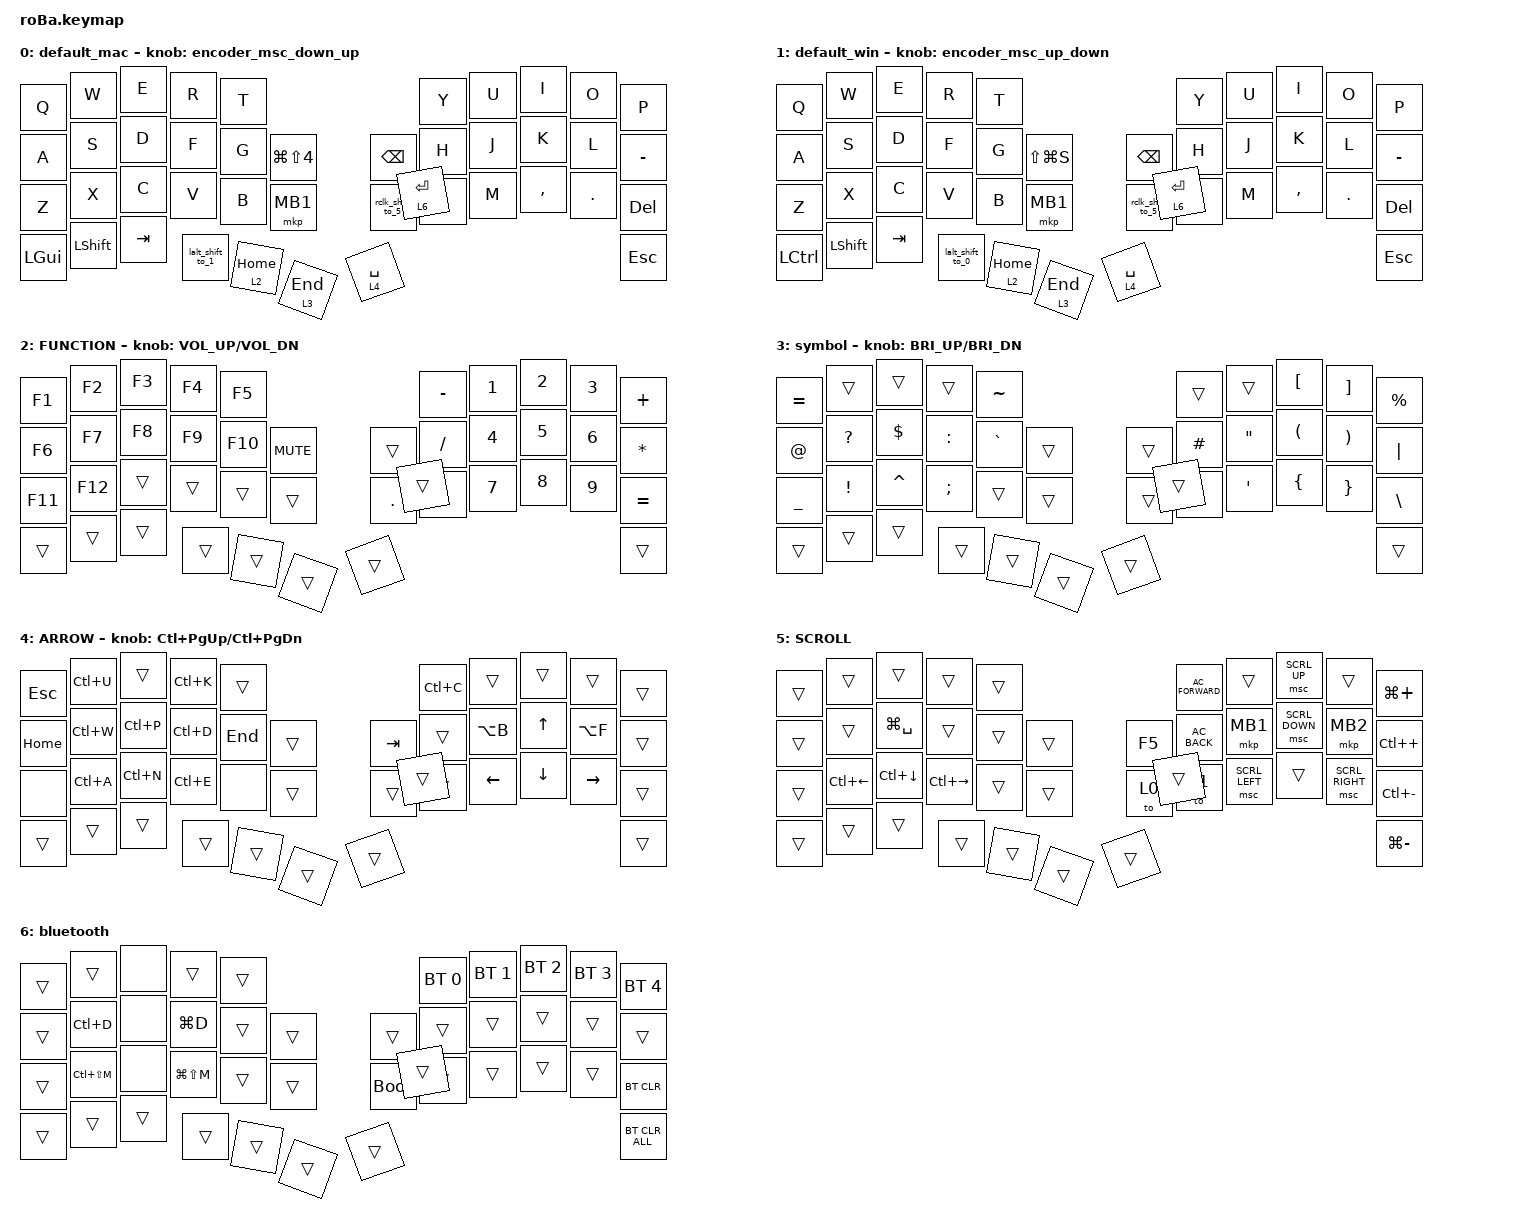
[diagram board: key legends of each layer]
#define ZMK_POINTING_DEFAULT_SCRL_VAL 80

#include <input/processors.dtsi>
#include <behaviors.dtsi>
#include <dt-bindings/zmk/bt.h>
#include <dt-bindings/zmk/keys.h>
#include <dt-bindings/zmk/pointing.h>

&mt {
    flavor = "balanced";
    quick-tap-ms = <0>;
};

&mkp_input_listener { input-processors = <&roba_threshold_temp_layer 5 500>; };

&msc_input_listener { input-processors = <&roba_threshold_temp_layer 5 500>; };

/ {
    combos {
        compatible = "zmk,combos";

        lang_ja {
            bindings = <&kp LANG2>;
            key-positions = <28 29>;
            layers = <0>;
        };

        lang_en {
            bindings = <&kp LANGUAGE_1>;
            key-positions = <27 26>;
            layers = <0>;
        };

        lang_win {
            bindings = <&kp LA(GRAVE)>;
            key-positions = <26 27>;
            layers = <1>;
        };

        brackets {
            bindings = <&brackets>;
            key-positions = <7 8>;
            layers = <0 1>;
        };

        parentheses {
            bindings = <&parentheses>;
            key-positions = <20 19>;
            layers = <0 1>;
        };

        braces {
            bindings = <&braces>;
            key-positions = <31 32>;
            layers = <0 1>;
        };

        grave {
            bindings = <&kp GRAVE>;
            key-positions = <6 7>;
            layers = <0 1>;
        };

        double_quotes {
            bindings = <&kp DOUBLE_QUOTES>;
            key-positions = <18 19>;
            layers = <0 1>;
        };

        single_quote {
            bindings = <&kp SINGLE_QUOTE>;
            key-positions = <30 31>;
            layers = <0 1>;
        };

        question {
            bindings = <&kp QUESTION>;
            key-positions = <12 13>;
            layers = <0 1>;
        };

        exclamation {
            bindings = <&kp EXCLAMATION>;
            key-positions = <24 25>;
            layers = <0 1>;
        };

        capslock {
            bindings = <&kp LS(CLCK)>;
            key-positions = <10 11>;
            layers = <0 1>;
        };
    };

    macros {
        brackets: brackets {
            compatible = "zmk,behavior-macro";
            #binding-cells = <0>;
            bindings = <&kp LEFT_BRACKET &kp RIGHT_BRACKET &kp LEFT_ARROW>;
        };

        parentheses: parentheses {
            compatible = "zmk,behavior-macro";
            #binding-cells = <0>;
            bindings = <&kp LEFT_PARENTHESIS &kp RIGHT_PARENTHESIS &kp LEFT_ARROW>;
        };

        braces: braces {
            compatible = "zmk,behavior-macro";
            #binding-cells = <0>;
            bindings = <&kp LEFT_BRACE &kp RIGHT_BRACE &kp LEFT_ARROW>;
        };
    };

    behaviors {
        lt_to_layer_0: lt_to_layer_0 {
            compatible = "zmk,behavior-hold-tap";
            label = "LAYER_TAP_TO_0";
            bindings = <&mo>, <&to>;

            #binding-cells = <2>;
            tapping-term-ms = <200>;
        };

        rclk_shift_to_5: rclk_shift_to_5 {
            compatible = "zmk,behavior-mod-morph";
            #binding-cells = <0>;
            bindings = <&mkp MB2>, <&to 5>;

            mods = <(MOD_LSFT|MOD_RSFT)>;
        };

        lalt_shift_to_1: lalt_shift_to_1 {
            compatible = "zmk,behavior-mod-morph";
            #binding-cells = <0>;
            bindings = <&kp LALT>, <&to 1>;

            mods = <(MOD_LSFT|MOD_RSFT)>;
        };

        lalt_shift_to_0: lalt_shift_to_0 {
            compatible = "zmk,behavior-mod-morph";
            #binding-cells = <0>;
            bindings = <&kp LALT>, <&to 0>;

            mods = <(MOD_LSFT|MOD_RSFT)>;
        };

        encoder_msc_down_up: encoder_msc_down_up {
            compatible = "zmk,behavior-sensor-rotate";
            label = "ENCODER_MSC_DOWN_UP";
            #sensor-binding-cells = <0>;
            bindings = <&msc SCRL_DOWN>, <&msc SCRL_UP>;

            tap-ms = <20>;
        };

        encoder_msc_up_down: encoder_msc_up_down {
            compatible = "zmk,behavior-sensor-rotate";
            label = "ENCODER_MSC_UP_DOWN";
            #sensor-binding-cells = <0>;
            bindings = <&msc SCRL_UP>, <&msc SCRL_DOWN>;

            tap-ms = <20>;
        };
    };

    keymap {
        compatible = "zmk,keymap";

        default_mac {
            bindings = <
&kp Q         &kp W           &kp E    &kp R             &kp T                                                   &kp Y        &kp U  &kp I      &kp O    &kp P
&kp A         &kp S           &kp D    &kp F             &kp G       &kp LG(LS(NUMBER_4))      &kp BACKSPACE     &kp H        &kp J  &kp K      &kp L    &kp MINUS
&kp Z         &kp X           &kp C    &kp V             &kp B       &mkp MB1                  &rclk_shift_to_5  &kp N        &kp M  &kp COMMA  &kp DOT  &kp DELETE
&kp LEFT_GUI  &kp LEFT_SHIFT  &kp TAB  &lalt_shift_to_1  &lt 2 HOME  &lt 3 END                 &lt 4 SPACE       &lt 6 ENTER                             &kp ESCAPE
            >;

            sensor-bindings = <&encoder_msc_down_up>;
        };

        default_win {
            bindings = <
&kp Q      &kp W           &kp E    &kp R             &kp T                                            &kp Y        &kp U  &kp I      &kp O    &kp P
&kp A      &kp S           &kp D    &kp F             &kp G       &kp LS(LG(S))      &kp BACKSPACE     &kp H        &kp J  &kp K      &kp L    &kp MINUS
&kp Z      &kp X           &kp C    &kp V             &kp B       &mkp MB1           &rclk_shift_to_5  &kp N        &kp M  &kp COMMA  &kp DOT  &kp DELETE
&kp LCTRL  &kp LEFT_SHIFT  &kp TAB  &lalt_shift_to_0  &lt 2 HOME  &lt 3 END          &lt 4 SPACE       &lt 6 ENTER                             &kp ESCAPE
            >;

            sensor-bindings = <&encoder_msc_up_down>;
        };

        FUNCTION {
            bindings = <
&kp F1   &kp F2   &kp F3  &kp F4  &kp F5                               &kp MINUS  &kp N1  &kp N2  &kp N3  &kp PLUS
&kp F6   &kp F7   &kp F8  &kp F9  &kp F10  &kp C_MUTE      &trans      &kp SLASH  &kp N4  &kp N5  &kp N6  &kp ASTERISK
&kp F11  &kp F12  &trans  &trans  &trans   &trans          &kp PERIOD  &kp N0     &kp N7  &kp N8  &kp N9  &kp EQUAL
&trans   &trans   &trans  &trans  &trans   &trans          &trans      &trans                             &trans
            >;

            sensor-bindings = <&inc_dec_kp C_VOL_UP C_VOL_DN>;
        };

        symbol {
            bindings = <
&kp EQUAL  &trans           &trans      &trans         &kp TILDE                      &trans     &trans             &kp LEFT_BRACKET      &kp RIGHT_BRACKET      &kp PERCENT
&kp AT     &kp QUESTION     &kp DOLLAR  &kp COLON      &kp GRAVE  &trans      &trans  &kp HASH   &kp DOUBLE_QUOTES  &kp LEFT_PARENTHESIS  &kp RIGHT_PARENTHESIS  &kp PIPE
&kp UNDER  &kp EXCLAMATION  &kp CARET   &kp SEMICOLON  &trans     &trans      &trans  &kp SLASH  &kp SINGLE_QUOTE   &kp LEFT_BRACE        &kp RIGHT_BRACE        &kp BACKSLASH
&trans     &trans           &trans      &trans         &trans     &trans      &trans  &trans                                                                     &trans
            >;

            sensor-bindings = <&inc_dec_kp C_BRI_UP C_BRI_DN>;
        };

        ARROW {
            bindings = <
&kp ESCAPE  &kp LC(U)  &trans     &kp LC(K)  &trans                        &kp LC(C)  &trans     &trans        &trans     &trans
&kp HOME    &kp LC(W)  &kp LC(P)  &kp LC(D)  &kp END  &trans      &kp TAB  &trans     &kp LA(B)  &kp UP_ARROW  &kp LA(F)  &trans
&none       &kp LC(A)  &kp LC(N)  &kp LC(E)  &none    &trans      &trans   &trans     &kp LEFT   &kp DOWN      &kp RIGHT  &trans
&trans      &trans     &trans     &trans     &trans   &trans      &trans   &trans                                         &trans
            >;

            sensor-bindings = <&inc_dec_kp LC(PAGE_UP) LC(PAGE_DOWN)>;
        };

        SCROLL {
            bindings = <
&trans  &trans        &trans         &trans         &trans                      &kp C_AC_FORWARD  &trans          &msc SCRL_UP    &trans           &kp LG(PLUS)
&trans  &trans        &kp LG(SPACE)  &trans         &trans  &trans      &kp F5  &kp C_AC_BACK     &mkp MB1        &msc SCRL_DOWN  &mkp MB2         &kp LC(PLUS)
&trans  &kp LC(LEFT)  &kp LC(DOWN)   &kp LC(RIGHT)  &trans  &trans      &to 0   &to 1             &msc SCRL_LEFT  &trans          &msc SCRL_RIGHT  &kp LC(MINUS)
&trans  &trans        &trans         &trans         &trans  &trans      &trans  &trans                                                             &kp LG(MINUS)
            >;
        };

        bluetooth {
            bindings = <
&trans  &trans         &none   &trans         &trans                           &bt BT_SEL 0  &bt BT_SEL 1  &bt BT_SEL 2  &bt BT_SEL 3  &bt BT_SEL 4
&trans  &kp LC(D)      &none   &kp LG(D)      &trans  &trans      &trans       &trans        &trans        &trans        &trans        &trans
&trans  &kp LC(LS(M))  &none   &kp LG(LS(M))  &trans  &trans      &bootloader  &trans        &trans        &trans        &trans        &bt BT_CLR
&trans  &trans         &trans  &trans         &trans  &trans      &trans       &trans                                                  &bt BT_CLR_ALL
            >;
        };
    };
};
